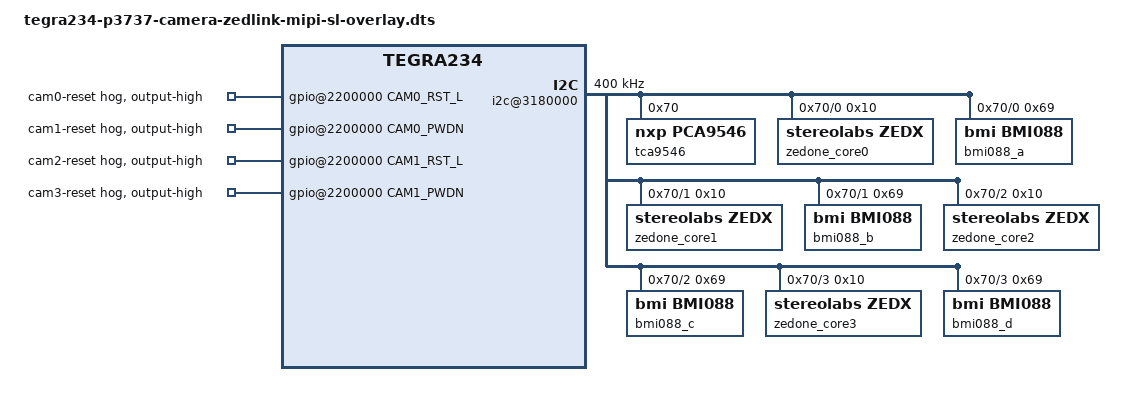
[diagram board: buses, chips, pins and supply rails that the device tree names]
// SPDX-License-Identifier: GPL-2.0-only
// SPDX-FileCopyrightText: Copyright (c) 2023-2024, NVIDIA CORPORATION & AFFILIATES. All rights reserved.

#ifdef BUILDOVERLAY
/dts-v1/;
/plugin/;
#endif 

#include "tegra234-camera-zedlink-mipi-p3737-agx-a00.dtsi"
#include "Utils/camera-clks.dtsi"
#include "dt-bindings/gpio/tegra234-gpio.h"
#include "dt-bindings/clock/tegra234-clock.h"
#include <dt-bindings/tegra234-p3737-0000+p3701-0000.h>

#define CAM0_RST_L      TEGRA234_MAIN_GPIO(H, 3)
#define CAM0_PWDN       TEGRA234_MAIN_GPIO(H, 6)
#define CAM1_RST_L      TEGRA234_MAIN_GPIO(AC, 2)
#define CAM1_PWDN       TEGRA234_MAIN_GPIO(AC, 0)
#define PWR_EN      TEGRA234_MAIN_GPIO(AC, 7)
#define GYRO1_IRQ_GPIO  TEGRA234_AON_GPIO(CC, 1)
#define ACCE1_IRQ_GPIO  TEGRA234_AON_GPIO(CC, 0)

/* camera control gpio definitions */
/ {
#ifdef BUILDOVERLAY
	overlay-name = "Jetson Mipi Camera Overlay";
	jetson-header-name = "Jetson AGX CSI Connector";
	compatible = JETSON_COMPATIBLE;

	fragment-camera-zedx-zedlink-mipi@0 {
		target-path = "/";
		__overlay__ {
#endif
			bus@0 {
				i2c@3180000 {
					clock-frequency = <0x61a80>; // Set to 400 kHz
					tca9546@70 {
						compatible = "nxp,pca9546";
						reg = <0x70>;
						#address-cells = <1>;
						#size-cells = <0>;
						i2c-mux-idle-disconnect;
						idle-state = <1>;
						skip_mux_detect = "yes";
						vcc_lp = "vcc";
						status = "okay";
						
						i2c@0 {
							reg = <0>;
							i2c-mux,deselect-on-exit;
							#address-cells = <1>;
							#size-cells = <0>;

							/delete-node/ dual_hawk_a@18;
							/delete-node/ single_max96712_a@62;

							zedone_core0: zedone_core_0@10 {
								status = "okay";
								compatible = "stereolabs,zedx";
								reg = <0x10>;

								ZED_ORIN_CLKS

								zedx-id = "0";
								channel = "a";   /* deserializer channel */
								is-mipi;
								has-eeprom;
								eeprom-addr=<0x56>;
								has-trigger-ctrl;
								trigger-ctrl-addr = <0x3C>;
								trigger-ctrl-reg  = <0x02>;
							};
							
							/* IMU A*/
							bmi088_a: bmi088_a_@69 {
								status = "okay";
								compatible = "bmi,bmi088";
								reg = <0x69>; /* <-- Must be gyroscope I2C address */
								accel_i2c_addr = <0x19>; /* Must be specified */
								accel_matrix    = [01 00 00 00 01 00 00 00 01];
								gyro_matrix        = [01 00 00 00 01 00 00 00 01];
							};
						};
						i2c@1 {
							status = "okay";
							reg = <1>;
							i2c-mux,deselect-on-exit;
							#address-cells = <1>;
							#size-cells = <0>;

							zedone_core1: zedone_core_1@10 {
								status = "okay";
								compatible = "stereolabs,zedx";
								reg = <0x10>;

								ZED_ORIN_CLKS

								zedx-id = "1";
								channel = "a";   /* deserializer channel */
								is-mipi;
								has-eeprom;
								eeprom-addr=<0x56>;
								has-trigger-ctrl;
								trigger-ctrl-addr = <0x3C>;
								trigger-ctrl-reg  = <0x02>;
							};

							/* IMU B */
							bmi088_b: bmi088_b_@69 {
								status = "okay";
								compatible = "bmi,bmi088";
								reg = <0x69>; /* <-- Must be gyroscope I2C address */
								accel_i2c_addr = <0x19>; /* Must be specified */
								accel_matrix    = [01 00 00 00 01 00 00 00 01];
								gyro_matrix        = [01 00 00 00 01 00 00 00 01];
							};
						};
						i2c@2 {
							status = "okay";
							reg = <2>;
							i2c-mux,deselect-on-exit;
							#address-cells = <1>;
							#size-cells = <0>;

							zedone_core2: zedone_core_2@10 {
								status = "okay";
								compatible = "stereolabs,zedx";
								reg = <0x10>;

								ZED_ORIN_CLKS

								zedx-id = "2";
								channel = "a";   /* deserializer channel */
								is-mipi;
								has-eeprom;
								eeprom-addr=<0x56>;
								has-trigger-ctrl;
								trigger-ctrl-addr = <0x3C>;
								trigger-ctrl-reg  = <0x02>;
							};

							/* IMU C */
							bmi088_c: bmi088_c_@69 {
								status = "okay";
								compatible = "bmi,bmi088";
								reg = <0x69>; /* <-- Must be gyroscope I2C address */
								accel_i2c_addr = <0x19>; /* Must be specified */
								accel_matrix    = [01 00 00 00 01 00 00 00 01];
								gyro_matrix        = [01 00 00 00 01 00 00 00 01];
							};
						};
						i2c@3 {
							status = "okay";
							reg = <3>;
							i2c-mux,deselect-on-exit;
							#address-cells = <1>;
							#size-cells = <0>;

							zedone_core3: zedone_core_3@10 {
								status = "okay";
								compatible = "stereolabs,zedx";
								reg = <0x10>;

								ZED_ORIN_CLKS

								zedx-id = "3";
								channel = "a";   /* deserializer channel */
								is-mipi;
								has-eeprom;
								eeprom-addr=<0x56>;
								has-trigger-ctrl;
								trigger-ctrl-addr = <0x3C>;
								trigger-ctrl-reg  = <0x02>;
							};

							/* IMU D */
							bmi088_d: bmi088_d_@69 {
								status = "okay";
								compatible = "bmi,bmi088";
								reg = <0x69>; /* <-- Must be gyroscope I2C address */
								accel_i2c_addr = <0x19>; /* Must be specified */
								accel_matrix    = [01 00 00 00 01 00 00 00 01];
								gyro_matrix        = [01 00 00 00 01 00 00 00 01];
							};
						};
					};
				};
			};
#ifdef BUILDOVERLAY
		};
	};
	fragment-cam-cdi-tsc@0 {
		target-path = "/";
		__overlay__ {
#endif
			tsc_sig_gen@c6a0000 {
				status = "okay";
				generator@380 {
					status = "okay";
				};
			};
#ifdef BUILDOVERLAY
		};
	};
	fragment-cam-reset-hogs@0 {
		target-path = "/";
		__overlay__ {
#endif
			bus@0 {
				gpio@2200000 {
					/*
					 * Assert the four per-sensor camera reset lines high at
					 * boot 
					 */
					cam0_rst_hog {
						gpio-hog;
						gpios = <CAM0_RST_L GPIO_ACTIVE_HIGH>;
						output-high;
						line-name = "cam0-reset";
					};
					cam1_rst_hog {
						gpio-hog;
						gpios = <CAM0_PWDN GPIO_ACTIVE_HIGH>;
						output-high;
						line-name = "cam1-reset";
					};
					cam2_rst_hog {
						gpio-hog;
						gpios = <CAM1_RST_L GPIO_ACTIVE_HIGH>;
						output-high;
						line-name = "cam2-reset";
					};
					cam3_rst_hog {
						gpio-hog;
						gpios = <CAM1_PWDN GPIO_ACTIVE_HIGH>;
						output-high;
						line-name = "cam3-reset";
					};
				};
			};
#ifdef BUILDOVERLAY
		};
	};
#endif
};
